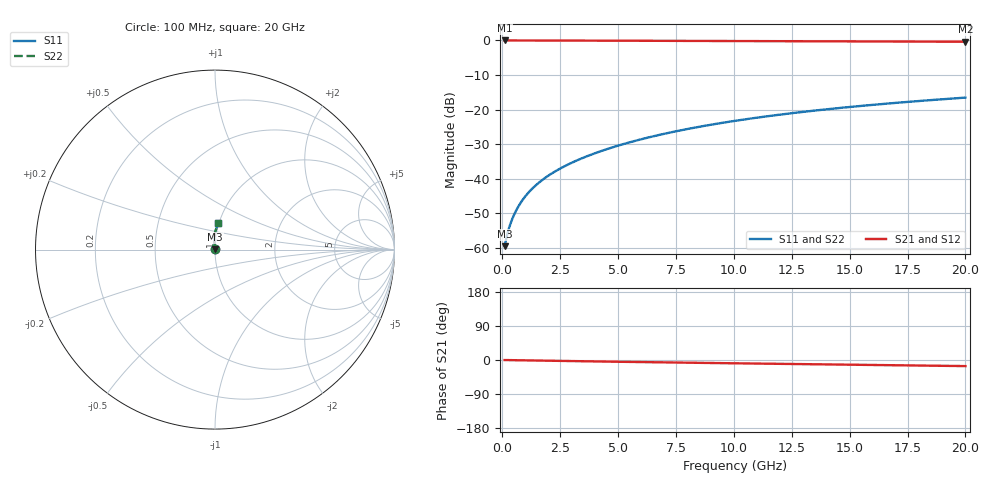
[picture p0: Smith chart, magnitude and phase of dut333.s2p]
! Touchstone file exported from HFSS 2024.1.0
!  File:  C:/UserFiles/LocalFiles/RDL_TSV_Batchsim/temp_RDL_top_333_1779607489.aedt
!  Generated:  03:26:55 PM May 24, 2026
!  Design:  RDL_top
!  Project:  temp_RDL_top_333_1779607489
!  Setup:  Setup1
!  Solution:  Sweep
! Variables:
!  dtsv = 10.80580581um
!  hbump = 3um
!  htsv = 86.69um
!  ldown = 100um
!  lrdl = 217.52um
!  p = 40
!  p1 = 51.23um
!  rhole = 1um
!  t = 450um
!  tdown = 3.915915916um
!  trdl = 4.25um
!  wdown = 15.38538539um
!  wrdl = 28.68um
# GHz S MA R 50.000000
! Terminal data exported
! Port[1] = Box2_T1
! Port[2] = Box2_T2
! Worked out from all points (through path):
!   200 points, 100 MHz to 20 GHz, reference 50 ohm
!   highest |S21| = -0.01 dB at 100 MHz (marker M1); lowest = -0.4 dB at 20 GHz (marker M2)
!   group delay of S21, straight-line fit = 2.19 ps
!   lowest |S11| = -59.5 dB at 100 MHz (marker M3), VSWR 1.00, Z = 50.1 + j0.0636 ohm
!   |S11| at or under -10 dB: start of sweep to end of sweep
!   |S22| runs from -59.5 to -16.5 dB; largest |S21 - S12| = 5.3e-15
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0.1  0.001058 36.9  0.9991 -0.1  0.9991 -0.1  0.001058 36.9
! Gamma 0 0 0 0
! Port Impedance 50 0 50 0
0.2  0.001508 53.0  0.9991 -0.2  0.9991 -0.2  0.001508 53.0
0.3  0.001982 61.6  0.999 -0.3  0.999 -0.3  0.001982 61.6
0.4  0.002469 67.3  0.9989 -0.4  0.9989 -0.4  0.002469 67.3
0.5  0.00297 71.3  0.9989 -0.5  0.9989 -0.5  0.00297 71.3
0.6  0.003481 74.3  0.9988 -0.6  0.9988 -0.6  0.003481 74.3
0.8  0.004526 78.5  0.9987 -0.8  0.9987 -0.8  0.004526 78.5
1.1  0.006133 82.4  0.9984 -1.1  0.9984 -1.1  0.006133 82.4
1.5  0.008324 85.6  0.998 -1.5  0.998 -1.5  0.008324 85.6
1.8  0.01 87.3  0.9976 -1.7  0.9976 -1.7  0.01 87.3
2.1  0.01171 88.6  0.9972 -2.0  0.9972 -2.0  0.01171 88.6
2.7  0.01522 90.6  0.9961 -2.6  0.9961 -2.6  0.01522 90.6
3.5  0.02013 92.5  0.9945 -3.3  0.9945 -3.3  0.02013 92.4
4.2  0.02466 93.5  0.9928 -4.0  0.9928 -4.0  0.02466 93.5
5  0.03009 94.2  0.9908 -4.6  0.9908 -4.6  0.03009 94.2
6.8  0.04317 94.6  0.9861 -6.2  0.9861 -6.2  0.04316 94.6
8.4  0.05554 93.9  0.9819 -7.4  0.9819 -7.4  0.05553 93.9
10.1  0.06913 92.6  0.9777 -8.8  0.9777 -8.8  0.06912 92.5
11.7  0.08212 91.1  0.9741 -10.0  0.9741 -10.0  0.08211 91.0
13.4  0.09598 89.3  0.9704 -11.2  0.9704 -11.2  0.09597 89.3
16.7  0.1227 85.9  0.9637 -13.7  0.9637 -13.7  0.1227 85.9
20  0.1489 82.5  0.9573 -16.1  0.9573 -16.1  0.1489 82.5
